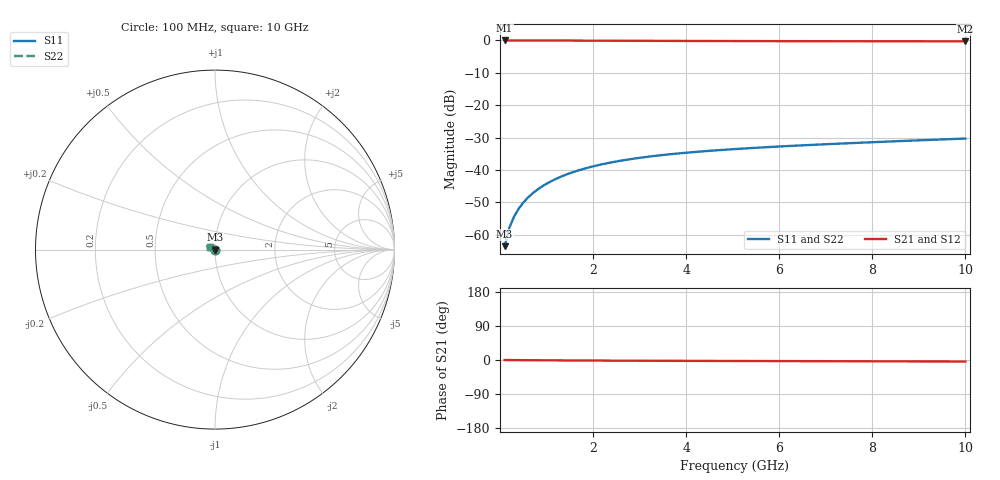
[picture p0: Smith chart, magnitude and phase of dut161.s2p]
! Touchstone file exported from HFSS 2024.1.0
!  File:  C:/UserFiles/LocalFiles/RDL_TSV_Batchsim/temp_TSV1_161_1779382419.aedt
!  Generated:  12:59:15 AM May 22, 2026
!  Design:  TSV1
!  Project:  temp_TSV1_161_1779382419
!  Setup:  Setup1
!  Solution:  Sweep
! Variables:
!  dtsv = 7.27um
!  hbump = 3um
!  htsv = 57.68um
!  lrdl = 252.1521522um
!  p = 40
!  p1 = 49.8um
!  t = 500um
!  trdl = 3um
!  wrdl = 24.89489489um
# GHz S MA R 50.000000
! Terminal data exported
! Port[1] = TSV22_T1
! Port[2] = TSV22_T2
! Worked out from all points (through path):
!   100 points, 100 MHz to 10 GHz, reference 50 ohm
!   highest |S21| = 0.00 dB at 100 MHz (marker M1); lowest = -0.3 dB at 10 GHz (marker M2)
!   lowest |S11| = -63.6 dB at 100 MHz (marker M3), VSWR 1.00, Z = 50 - j0.0633 ohm
!   |S11| at or under -10 dB: start of sweep to end of sweep
!   |S22| runs from -63.6 to -30.3 dB; largest |S21 - S12| = 4.1e-15
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0.1  0.0006639 -72.3  0.9997 -0.1  0.9997 -0.1  0.0006639 -72.3
! Gamma 0 0 0 0
! Port Impedance 50 0 50 0
0.2  0.001268 -84.1  0.9997 -0.2  0.9997 -0.2  0.001268 -84.1
0.3  0.001884 -89.6  0.9995 -0.3  0.9995 -0.3  0.001884 -89.6
0.4  0.002502 -93.5  0.9994 -0.3  0.9994 -0.3  0.002502 -93.5
0.5  0.003117 -96.6  0.9991 -0.4  0.9991 -0.4  0.003117 -96.6
0.6  0.003729 -99.4  0.9989 -0.5  0.9989 -0.5  0.003729 -99.4
0.7  0.004336 -102.0  0.9986 -0.6  0.9986 -0.6  0.004336 -102.0
0.8  0.004937 -104.4  0.9982 -0.7  0.9982 -0.7  0.004937 -104.4
0.9  0.00553 -106.7  0.9979 -0.7  0.9979 -0.7  0.00553 -106.7
1.1  0.006689 -111.0  0.997 -0.9  0.997 -0.9  0.006689 -111.0
1.4  0.008349 -117.2  0.9956 -1.1  0.9956 -1.1  0.008349 -117.2
1.6  0.009398 -121.0  0.9945 -1.2  0.9945 -1.2  0.009398 -121.0
1.8  0.0104 -124.7  0.9934 -1.4  0.9934 -1.4  0.0104 -124.7
2.1  0.0118 -130.1  0.9917 -1.5  0.9917 -1.5  0.0118 -130.1
2.5  0.0135 -136.7  0.9895 -1.7  0.9895 -1.7  0.0135 -136.7
2.9  0.01502 -142.9  0.9873 -1.9  0.9873 -1.9  0.01502 -142.9
3.4  0.01669 -150.0  0.9847 -2.1  0.9847 -2.1  0.01669 -150.0
4.2  0.01896 -160.0  0.9812 -2.4  0.9812 -2.4  0.01896 -160.0
5.1  0.02111 -169.7  0.978 -2.6  0.978 -2.6  0.02111 -169.7
6.7  0.02436 176.3  0.974 -3.1  0.974 -3.1  0.02436 176.3
8.4  0.02753 164.6  0.9712 -3.5  0.9712 -3.5  0.02753 164.6
10  0.03053 155.7  0.9693 -4.0  0.9693 -4.0  0.03053 155.7
